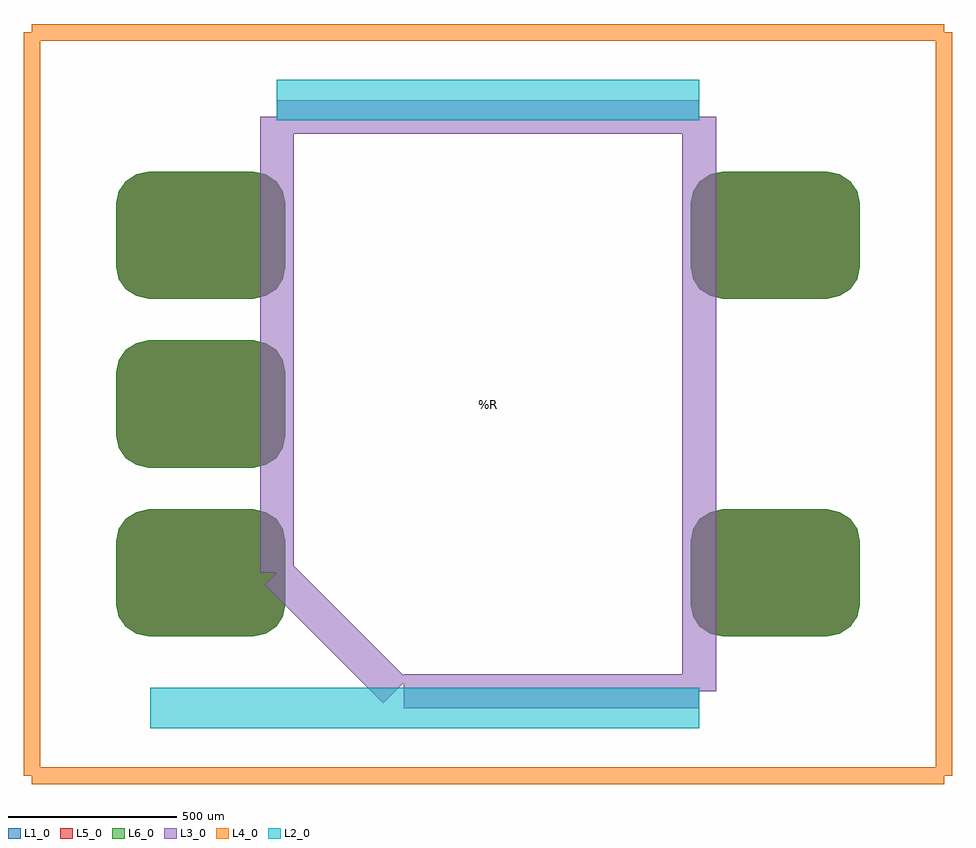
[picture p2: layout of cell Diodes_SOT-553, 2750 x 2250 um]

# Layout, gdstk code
import gdstk
lib = gdstk.Library(unit=1e-6, precision=1e-09)
def P(c, l, *ps):  # polygons
    for p in ps: c.add(gdstk.Polygon(p, *l))
L1_0 = (1, 0)
L2_0 = (2, 0)
L3_0 = (3, 0)
L4_0 = (4, 0)
L5_0 = (5, 0)
L6_0 = (6, 0)

diodes_sot_553 = lib.new_cell('Diodes_SOT-553')
P(diodes_sot_553, L1_0, [(-694,-688),(-658,-680),(-627,-660),(-607,-630),(-600,-594),(-600,-406),(-607,-370),(-627,-340),(-658,-320),(-694,-312),(-1006,-312),(-1042,-320),(-1073,-340),(-1093,-370),(-1100,-406),(-1100,-594),(-1093,-630),(-1073,-660),(-1042,-680),(-1006,-688)],
  [(-694,312),(-658,320),(-627,340),(-607,370),(-600,406),(-600,594),(-607,630),(-627,660),(-658,680),(-694,688),(-1006,688),(-1042,680),(-1073,660),(-1093,630),(-1100,594),(-1100,406),(-1093,370),(-1073,340),(-1042,320),(-1006,312)],
  [(1006,-688),(1042,-680),(1073,-660),(1093,-630),(1100,-594),(1100,-406),(1093,-370),(1073,-340),(1042,-320),(1006,-312),(694,-312),(658,-320),(627,-340),(607,-370),(600,-406),(600,-594),(607,-630),(627,-660),(658,-680),(694,-688)],
  [(-694,-188),(-658,-180),(-627,-160),(-607,-130),(-600,-94),(-600,94),(-607,130),(-627,160),(-658,180),(-694,188),(-1006,188),(-1042,180),(-1073,160),(-1093,130),(-1100,94),(-1100,-94),(-1093,-130),(-1073,-160),(-1042,-180),(-1006,-188)],
  [(1006,312),(1042,320),(1073,340),(1093,370),(1100,406),(1100,594),(1093,630),(1073,660),(1042,680),(1006,688),(694,688),(658,680),(627,660),(607,630),(600,594),(600,406),(607,370),(627,340),(658,320),(694,312)])
P(diodes_sot_553, L5_0, [(-694,-688),(-658,-680),(-627,-660),(-607,-630),(-600,-594),(-600,-406),(-607,-370),(-627,-340),(-658,-320),(-694,-312),(-1006,-312),(-1042,-320),(-1073,-340),(-1093,-370),(-1100,-406),(-1100,-594),(-1093,-630),(-1073,-660),(-1042,-680),(-1006,-688)],
  [(-694,312),(-658,320),(-627,340),(-607,370),(-600,406),(-600,594),(-607,630),(-627,660),(-658,680),(-694,688),(-1006,688),(-1042,680),(-1073,660),(-1093,630),(-1100,594),(-1100,406),(-1093,370),(-1073,340),(-1042,320),(-1006,312)],
  [(1006,-688),(1042,-680),(1073,-660),(1093,-630),(1100,-594),(1100,-406),(1093,-370),(1073,-340),(1042,-320),(1006,-312),(694,-312),(658,-320),(627,-340),(607,-370),(600,-406),(600,-594),(607,-630),(627,-660),(658,-680),(694,-688)],
  [(-694,-188),(-658,-180),(-627,-160),(-607,-130),(-600,-94),(-600,94),(-607,130),(-627,160),(-658,180),(-694,188),(-1006,188),(-1042,180),(-1073,160),(-1093,130),(-1100,94),(-1100,-94),(-1093,-130),(-1073,-160),(-1042,-180),(-1006,-188)],
  [(1006,312),(1042,320),(1073,340),(1093,370),(1100,406),(1100,594),(1093,630),(1073,660),(1042,680),(1006,688),(694,688),(658,680),(627,660),(607,630),(600,594),(600,406),(607,370),(627,340),(658,320),(694,312)])
P(diodes_sot_553, L6_0, [(-694,-688),(-658,-680),(-627,-660),(-607,-630),(-600,-594),(-600,-406),(-607,-370),(-627,-340),(-658,-320),(-694,-312),(-1006,-312),(-1042,-320),(-1073,-340),(-1093,-370),(-1100,-406),(-1100,-594),(-1093,-630),(-1073,-660),(-1042,-680),(-1006,-688)],
  [(-694,312),(-658,320),(-627,340),(-607,370),(-600,406),(-600,594),(-607,630),(-627,660),(-658,680),(-694,688),(-1006,688),(-1042,680),(-1073,660),(-1093,630),(-1100,594),(-1100,406),(-1093,370),(-1073,340),(-1042,320),(-1006,312)],
  [(1006,-688),(1042,-680),(1073,-660),(1093,-630),(1100,-594),(1100,-406),(1093,-370),(1073,-340),(1042,-320),(1006,-312),(694,-312),(658,-320),(627,-340),(607,-370),(600,-406),(600,-594),(607,-630),(627,-660),(658,-680),(694,-688)],
  [(-694,-188),(-658,-180),(-627,-160),(-607,-130),(-600,-94),(-600,94),(-607,130),(-627,160),(-658,180),(-694,188),(-1006,188),(-1042,180),(-1073,160),(-1093,130),(-1100,94),(-1100,-94),(-1093,-130),(-1073,-160),(-1042,-180),(-1006,-188)],
  [(1006,312),(1042,320),(1073,340),(1093,370),(1100,406),(1100,594),(1093,630),(1073,660),(1042,680),(1006,688),(694,688),(658,680),(627,660),(607,630),(600,594),(600,406),(607,370),(627,340),(658,320),(694,312)])
diodes_sot_553.add(gdstk.FlexPath([(-625,-500),(-275,-850)], 100, ends="flush", simple_path=True, layer=3, datatype=0))  # L3_0
diodes_sot_553.add(gdstk.FlexPath([(625,900),(-625,900)], 120, ends="flush", simple_path=True, layer=2, datatype=0))  # L2_0
diodes_sot_553.add(gdstk.FlexPath([(-1000,-900),(625,-900)], 120, ends="flush", simple_path=True, layer=2, datatype=0))  # L2_0
diodes_sot_553.add(gdstk.FlexPath([(-625,-500),(-625,850)], 100, ends="flush", simple_path=True, layer=3, datatype=0))  # L3_0
diodes_sot_553.add(gdstk.FlexPath([(-625,850),(625,850)], 100, ends="flush", simple_path=True, layer=3, datatype=0))  # L3_0
diodes_sot_553.add(gdstk.FlexPath([(625,850),(625,-850)], 100, ends="flush", simple_path=True, layer=3, datatype=0))  # L3_0
diodes_sot_553.add(gdstk.FlexPath([(625,-850),(-250,-850)], 100, ends="flush", simple_path=True, layer=3, datatype=0))  # L3_0
diodes_sot_553.add(gdstk.FlexPath([(-1350,-1100),(1350,-1100)], 50, ends="flush", simple_path=True, layer=4, datatype=0))  # L4_0
diodes_sot_553.add(gdstk.FlexPath([(-1350,-1100),(-1350,1100)], 50, ends="flush", simple_path=True, layer=4, datatype=0))  # L4_0
diodes_sot_553.add(gdstk.FlexPath([(1350,1100),(1350,-1100)], 50, ends="flush", simple_path=True, layer=4, datatype=0))  # L4_0
diodes_sot_553.add(gdstk.FlexPath([(1350,1100),(-1350,1100)], 50, ends="flush", simple_path=True, layer=4, datatype=0))  # L4_0
diodes_sot_553.add(gdstk.Label('REF**', (0,-2000), layer=2, texttype=0))
diodes_sot_553.add(gdstk.Label('Diodes_SOT-553', (0,2000), layer=3, texttype=0))
diodes_sot_553.add(gdstk.Label('%R', (0,0), layer=3, texttype=0))

lib.write_gds('Diodes_SOT-553.gds')
